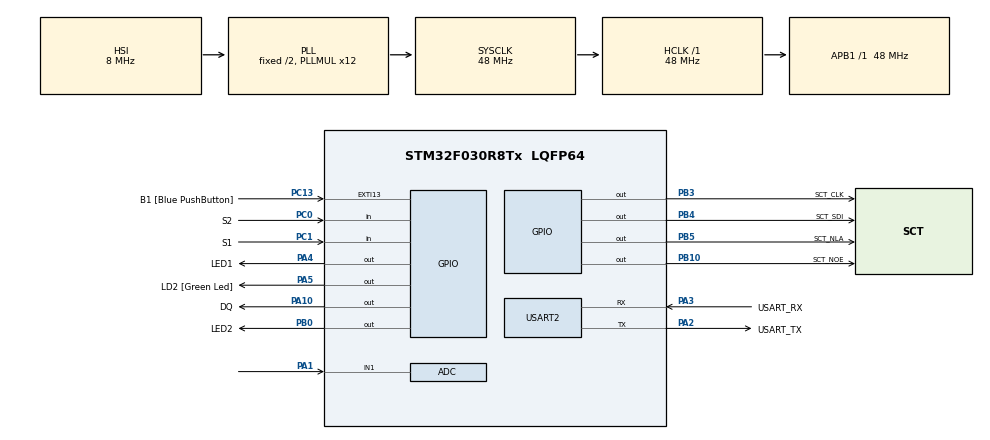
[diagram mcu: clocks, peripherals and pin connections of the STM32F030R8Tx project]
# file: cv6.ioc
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ADC.ContinuousConvMode=ENABLE
ADC.Overrun=ADC_OVR_DATA_OVERWRITTEN
ADC.Resolution=ADC_RESOLUTION_10B
Mcu.Family=STM32F0
Mcu.Name=STM32F030R8Tx
Mcu.Package=LQFP64
PA1.Mode=IN1
PA1.Signal=ADC_IN1
PA10.GPIO_Label=DQ
PA10.GPIO_ModeDefaultOutputPP=GPIO_MODE_OUTPUT_OD
PA10.GPIO_PuPd=GPIO_NOPULL
PA10.PinState=GPIO_PIN_SET
PA10.Signal=GPIO_Output
PA13.GPIO_Label=TMS
PA13.Mode=Serial_Wire
PA13.Signal=SYS_SWDIO
PA14.GPIO_Label=TCK
PA14.Mode=Serial_Wire
PA14.Signal=SYS_SWCLK
PA2.GPIO_Label=USART_TX
PA2.GPIO_Mode=GPIO_MODE_AF_PP
PA2.GPIO_PuPd=GPIO_NOPULL
PA2.GPIO_Speed=GPIO_SPEED_FREQ_LOW
PA2.Mode=Asynchronous
PA2.Signal=USART2_TX
PA3.GPIO_Label=USART_RX
PA3.GPIO_Mode=GPIO_MODE_AF_PP
PA3.GPIO_PuPd=GPIO_NOPULL
PA3.GPIO_Speed=GPIO_SPEED_FREQ_LOW
PA3.Mode=Asynchronous
PA3.Signal=USART2_RX
PA4.GPIO_Label=LED1
PA4.Signal=GPIO_Output
PA5.GPIO_Label=LD2 [Green Led]
PA5.GPIO_Mode=GPIO_MODE_OUTPUT_PP
PA5.GPIO_PuPd=GPIO_NOPULL
PA5.GPIO_Speed=GPIO_SPEED_FREQ_LOW
PA5.Signal=GPIO_Output
PB0.GPIO_Label=LED2
PB0.Signal=GPIO_Output
PB10.GPIO_Label=SCT_NOE
PB10.Signal=GPIO_Output
PB3.GPIO_Label=SCT_CLK
PB3.Signal=GPIO_Output
PB4.GPIO_Label=SCT_SDI
PB4.Signal=GPIO_Output
PB5.GPIO_Label=SCT_NLA
PB5.Signal=GPIO_Output
PC0.GPIO_Label=S2
PC0.GPIO_PuPd=GPIO_PULLUP
PC0.Signal=GPIO_Input
PC1.GPIO_Label=S1
PC1.GPIO_PuPd=GPIO_PULLUP
PC1.Signal=GPIO_Input
PC13.GPIO_Label=B1 [Blue PushButton]
PC13.GPIO_ModeDefaultEXTI=GPIO_MODE_IT_FALLING
PC13.Signal=GPXTI13
PC14-OSC32_IN.Mode=LSE-External-Oscillator
PC14-OSC32_IN.Signal=RCC_OSC32_IN
PC15-OSC32_OUT.Mode=LSE-External-Oscillator
PC15-OSC32_OUT.Signal=RCC_OSC32_OUT
PF0-OSC_IN.Mode=HSE-External-Clock-Source
PF0-OSC_IN.Signal=RCC_OSC_IN
PF1-OSC_OUT.Signal=RCC_OSC_OUT
ProjectManager.HeapSize=0x200
ProjectManager.StackSize=0x400
ProjectManager.TargetToolchain=STM32CubeIDE
RCC.AHBFreq_Value=48000000
RCC.APB1Freq_Value=48000000
RCC.APB1TimFreq_Value=48000000
RCC.HCLKFreq_Value=48000000
RCC.PLLMUL=RCC_PLL_MUL12
RCC.SYSCLKFreq_VALUE=48000000
RCC.SYSCLKSource=RCC_SYSCLKSOURCE_PLLCLK
USART2.VirtualMode-Asynchronous=VM_ASYNC
board=NUCLEO-F030R8

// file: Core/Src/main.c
/* USER CODE BEGIN Header */
/**
  ******************************************************************************
  * @file           : main.c
  * @brief          : Main program body
  ******************************************************************************
  * @attention
  *
  * Copyright (c) 2024 STMicroelectronics.
  * All rights reserved.
  *
  * This software is licensed under terms that can be found in the LICENSE file
  * in the root directory of this software component.
  * If no LICENSE file comes with this software, it is provided AS-IS.
  *
  ******************************************************************************
  */
/* USER CODE END Header */
#include "main.h"

/* USER CODE BEGIN Includes */
#include "sct.h"
#include "1wire.h"

/* USER CODE END Includes */

/* USER CODE BEGIN PD */
//#define CONVERT_T_DELAY 750
/* USER CODE END PD */

ADC_HandleTypeDef hadc;

UART_HandleTypeDef huart2;

/* USER CODE BEGIN PV */
int16_t data[] = {
#include "data.dlm"
};
/* USER CODE END PV */

void SystemClock_Config(void);
static void MX_GPIO_Init(void);
static void MX_USART2_UART_Init(void);
static void MX_ADC_Init(void);

int main(void)
{

  /* MCU Configuration--------------------------------------------------------*/

  /* Reset of all peripherals, Initializes the Flash interface and the Systick. */
  HAL_Init();

  /* Configure the system clock */
  SystemClock_Config();

  /* Initialize all configured peripherals */
  MX_GPIO_Init();
  MX_USART2_UART_Init();
  MX_ADC_Init();
  /* USER CODE BEGIN 2 */
  HAL_ADCEx_Calibration_Start(&hadc);
  HAL_ADC_Start(&hadc);
  OWInit();
  sct_init();
  /* USER CODE END 2 */

  /* Infinite loop */
  /* USER CODE BEGIN WHILE */
  while (1)
  {
	  /*OWConvertAll();
	  HAL_Delay(CONVERT_T_DELAY);
	  int16_t temp_18b20;
	  OWReadTemperature(&temp_18b20);
	  sct_value(temp_18b20/10, 0);
	  //sct_value(HAL_ADC_GetValue(&hadc), 0);
	   */

	  //uint32_t result;
	  //result=HAL_ADC_GetValue(&hadc);
	  //sct_value(data[result], 0); //Jak to funguje?*/

	  static enum { BLANK, SHOW_18b20, SHOW_NTC } state = BLANK;
	  static uint32_t delayTime=0;

	  if(HAL_GPIO_ReadPin(S2_GPIO_Port, S2_Pin)==0)
	  {
		  state=SHOW_18b20;
		  sct_value(0, 0); //kvuli nervujicim zasekum
		  HAL_GPIO_WritePin(LED1_GPIO_Port, LED1_Pin, GPIO_PIN_SET);
		  HAL_GPIO_WritePin(LED2_GPIO_Port, LED2_Pin, GPIO_PIN_RESET);
		  delayTime=HAL_GetTick() + CONVERT_T_DELAY;
	  }
	  if(HAL_GPIO_ReadPin(S1_GPIO_Port, S1_Pin)==0)
	  {
	 	 state=SHOW_NTC;
	 	 HAL_GPIO_WritePin(LED2_GPIO_Port, LED2_Pin, GPIO_PIN_SET);
	 	 HAL_GPIO_WritePin(LED1_GPIO_Port, LED1_Pin, GPIO_PIN_RESET);
	 	 delayTime=HAL_GetTick() + 100; //dat jako konstantu
	  }
	  switch(state)
	  {
	  	  case BLANK:
	  		  sct_value(0, 0);
	  	  break;

		  case SHOW_18b20:
			  OWConvertAll();
			  if(HAL_GetTick()>delayTime) //prvni hodnota neplati
			  {
				  int16_t temp_18b20;
				  OWReadTemperature(&temp_18b20);
				  sct_value(temp_18b20/10, 0);

				  delayTime=HAL_GetTick() + CONVERT_T_DELAY;
			  }
		  break;

		  case SHOW_NTC:
			  uint32_t result;
			  result=HAL_ADC_GetValue(&hadc);
			  if(HAL_GetTick()>delayTime)
			  {
				  sct_value(data[result], 0);
				  delayTime=HAL_GetTick() + 100;
			  }
	  }
    /* USER CODE END WHILE */

  }
}

void SystemClock_Config(void)
{
  RCC_OscInitTypeDef RCC_OscInitStruct = {0};
  RCC_ClkInitTypeDef RCC_ClkInitStruct = {0};

  /** Initializes the RCC Oscillators according to the specified parameters
  * in the RCC_OscInitTypeDef structure.
  */
  RCC_OscInitStruct.OscillatorType = RCC_OSCILLATORTYPE_HSI|RCC_OSCILLATORTYPE_HSI14;
  RCC_OscInitStruct.HSIState = RCC_HSI_ON;
  RCC_OscInitStruct.HSI14State = RCC_HSI14_ON;
  RCC_OscInitStruct.HSICalibrationValue = RCC_HSICALIBRATION_DEFAULT;
  RCC_OscInitStruct.HSI14CalibrationValue = 16;
  RCC_OscInitStruct.PLL.PLLState = RCC_PLL_ON;
  RCC_OscInitStruct.PLL.PLLSource = RCC_PLLSOURCE_HSI;
  RCC_OscInitStruct.PLL.PLLMUL = RCC_PLL_MUL12;
  RCC_OscInitStruct.PLL.PREDIV = RCC_PREDIV_DIV1;
  if (HAL_RCC_OscConfig(&RCC_OscInitStruct) != HAL_OK)
  {
    Error_Handler();
  }

  /** Initializes the CPU, AHB and APB buses clocks
  */
  RCC_ClkInitStruct.ClockType = RCC_CLOCKTYPE_HCLK|RCC_CLOCKTYPE_SYSCLK
                              |RCC_CLOCKTYPE_PCLK1;
  RCC_ClkInitStruct.SYSCLKSource = RCC_SYSCLKSOURCE_PLLCLK;
  RCC_ClkInitStruct.AHBCLKDivider = RCC_SYSCLK_DIV1;
  RCC_ClkInitStruct.APB1CLKDivider = RCC_HCLK_DIV1;

  if (HAL_RCC_ClockConfig(&RCC_ClkInitStruct, FLASH_LATENCY_1) != HAL_OK)
  {
    Error_Handler();
  }
}

static void MX_ADC_Init(void)
{

  ADC_ChannelConfTypeDef sConfig = {0};

  /** Configure the global features of the ADC (Clock, Resolution, Data Alignment and number of conversion)
  */
  hadc.Instance = ADC1;
  hadc.Init.ClockPrescaler = ADC_CLOCK_ASYNC_DIV1;
  hadc.Init.Resolution = ADC_RESOLUTION_10B;
  hadc.Init.DataAlign = ADC_DATAALIGN_RIGHT;
  hadc.Init.ScanConvMode = ADC_SCAN_DIRECTION_FORWARD;
  hadc.Init.EOCSelection = ADC_EOC_SINGLE_CONV;
  hadc.Init.LowPowerAutoWait = DISABLE;
  hadc.Init.LowPowerAutoPowerOff = DISABLE;
  hadc.Init.ContinuousConvMode = ENABLE;
  hadc.Init.DiscontinuousConvMode = DISABLE;
  hadc.Init.ExternalTrigConv = ADC_SOFTWARE_START;
  hadc.Init.ExternalTrigConvEdge = ADC_EXTERNALTRIGCONVEDGE_NONE;
  hadc.Init.DMAContinuousRequests = DISABLE;
  hadc.Init.Overrun = ADC_OVR_DATA_OVERWRITTEN;
  if (HAL_ADC_Init(&hadc) != HAL_OK)
  {
    Error_Handler();
  }

  /** Configure for the selected ADC regular channel to be converted.
  */
  sConfig.Channel = ADC_CHANNEL_1;
  sConfig.Rank = ADC_RANK_CHANNEL_NUMBER;
  sConfig.SamplingTime = ADC_SAMPLETIME_1CYCLE_5;
  if (HAL_ADC_ConfigChannel(&hadc, &sConfig) != HAL_OK)
  {
    Error_Handler();
  }

}

static void MX_USART2_UART_Init(void)
{

  huart2.Instance = USART2;
  huart2.Init.BaudRate = 38400;
  huart2.Init.WordLength = UART_WORDLENGTH_8B;
  huart2.Init.StopBits = UART_STOPBITS_1;
  huart2.Init.Parity = UART_PARITY_NONE;
  huart2.Init.Mode = UART_MODE_TX_RX;
  huart2.Init.HwFlowCtl = UART_HWCONTROL_NONE;
  huart2.Init.OverSampling = UART_OVERSAMPLING_16;
  huart2.Init.OneBitSampling = UART_ONE_BIT_SAMPLE_DISABLE;
  huart2.AdvancedInit.AdvFeatureInit = UART_ADVFEATURE_NO_INIT;
  if (HAL_UART_Init(&huart2) != HAL_OK)
  {
    Error_Handler();
  }

}

static void MX_GPIO_Init(void)
{
  GPIO_InitTypeDef GPIO_InitStruct = {0};

  /* GPIO Ports Clock Enable */
  __HAL_RCC_GPIOC_CLK_ENABLE();
  __HAL_RCC_GPIOF_CLK_ENABLE();
  __HAL_RCC_GPIOA_CLK_ENABLE();
  __HAL_RCC_GPIOB_CLK_ENABLE();

  /*Configure GPIO pin Output Level */
  HAL_GPIO_WritePin(GPIOA, LED1_Pin|LD2_Pin, GPIO_PIN_RESET);

  /*Configure GPIO pin Output Level */
  HAL_GPIO_WritePin(GPIOB, LED2_Pin|SCT_NOE_Pin|SCT_CLK_Pin|SCT_SDI_Pin
                          |SCT_NLA_Pin, GPIO_PIN_RESET);

  /*Configure GPIO pin Output Level */
  HAL_GPIO_WritePin(DQ_GPIO_Port, DQ_Pin, GPIO_PIN_SET);

  /*Configure GPIO pin : B1_Pin */
  GPIO_InitStruct.Pin = B1_Pin;
  GPIO_InitStruct.Mode = GPIO_MODE_IT_FALLING;
  GPIO_InitStruct.Pull = GPIO_NOPULL;
  HAL_GPIO_Init(B1_GPIO_Port, &GPIO_InitStruct);

  /*Configure GPIO pins : S2_Pin S1_Pin */
  GPIO_InitStruct.Pin = S2_Pin|S1_Pin;
  GPIO_InitStruct.Mode = GPIO_MODE_INPUT;
  GPIO_InitStruct.Pull = GPIO_PULLUP;
  HAL_GPIO_Init(GPIOC, &GPIO_InitStruct);

  /*Configure GPIO pins : LED1_Pin LD2_Pin */
  GPIO_InitStruct.Pin = LED1_Pin|LD2_Pin;
  GPIO_InitStruct.Mode = GPIO_MODE_OUTPUT_PP;
  GPIO_InitStruct.Pull = GPIO_NOPULL;
  GPIO_InitStruct.Speed = GPIO_SPEED_FREQ_LOW;
  HAL_GPIO_Init(GPIOA, &GPIO_InitStruct);

  /*Configure GPIO pins : LED2_Pin SCT_NOE_Pin SCT_CLK_Pin SCT_SDI_Pin
                           SCT_NLA_Pin */
  GPIO_InitStruct.Pin = LED2_Pin|SCT_NOE_Pin|SCT_CLK_Pin|SCT_SDI_Pin
                          |SCT_NLA_Pin;
  GPIO_InitStruct.Mode = GPIO_MODE_OUTPUT_PP;
  GPIO_InitStruct.Pull = GPIO_NOPULL;
  GPIO_InitStruct.Speed = GPIO_SPEED_FREQ_LOW;
  HAL_GPIO_Init(GPIOB, &GPIO_InitStruct);

  /*Configure GPIO pin : DQ_Pin */
  GPIO_InitStruct.Pin = DQ_Pin;
  GPIO_InitStruct.Mode = GPIO_MODE_OUTPUT_OD;
  GPIO_InitStruct.Pull = GPIO_NOPULL;
  GPIO_InitStruct.Speed = GPIO_SPEED_FREQ_LOW;
  HAL_GPIO_Init(DQ_GPIO_Port, &GPIO_InitStruct);

}

void Error_Handler(void)
{
  __disable_irq();
  while (1)
  {
  }
}
